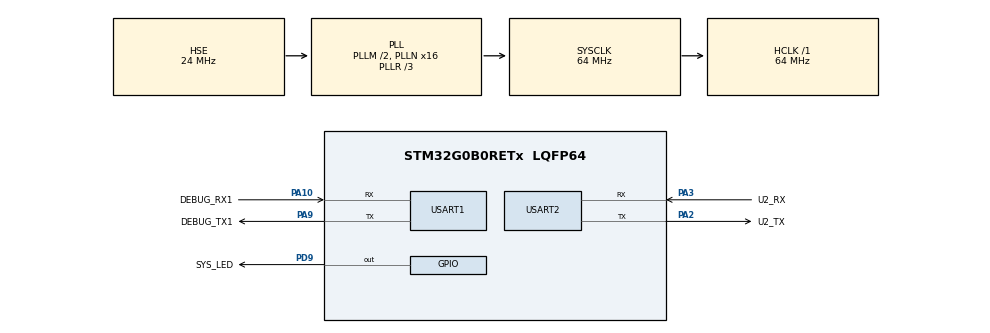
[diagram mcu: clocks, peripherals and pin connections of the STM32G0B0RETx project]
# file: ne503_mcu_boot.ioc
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CRC.InputDataInversionMode=CRC_INPUTDATA_INVERSION_NONE
Dma.Request0=USART2_RX
Dma.Request1=USART2_TX
Dma.Request2=USART1_RX
Dma.Request3=USART1_TX
Dma.USART1_RX.2.Direction=DMA_PERIPH_TO_MEMORY
Dma.USART1_RX.2.EventEnable=DISABLE
Dma.USART1_RX.2.Instance=DMA1_Channel1
Dma.USART1_RX.2.MemDataAlignment=DMA_MDATAALIGN_BYTE
Dma.USART1_RX.2.MemInc=DMA_MINC_ENABLE
Dma.USART1_RX.2.Mode=DMA_CIRCULAR
Dma.USART1_RX.2.PeriphDataAlignment=DMA_PDATAALIGN_BYTE
Dma.USART1_RX.2.PeriphInc=DMA_PINC_DISABLE
Dma.USART1_RX.2.Polarity=HAL_DMAMUX_REQ_GEN_RISING
Dma.USART1_RX.2.Priority=DMA_PRIORITY_LOW
Dma.USART1_RX.2.RequestNumber=1
Dma.USART1_RX.2.SignalID=NONE
Dma.USART1_RX.2.SyncEnable=DISABLE
Dma.USART1_RX.2.SyncPolarity=HAL_DMAMUX_SYNC_NO_EVENT
Dma.USART1_RX.2.SyncRequestNumber=1
Dma.USART1_RX.2.SyncSignalID=NONE
Dma.USART1_TX.3.Direction=DMA_MEMORY_TO_PERIPH
Dma.USART1_TX.3.EventEnable=DISABLE
Dma.USART1_TX.3.Instance=DMA1_Channel2
Dma.USART1_TX.3.MemDataAlignment=DMA_MDATAALIGN_BYTE
Dma.USART1_TX.3.MemInc=DMA_MINC_ENABLE
Dma.USART1_TX.3.Mode=DMA_NORMAL
Dma.USART1_TX.3.PeriphDataAlignment=DMA_PDATAALIGN_BYTE
Dma.USART1_TX.3.PeriphInc=DMA_PINC_DISABLE
Dma.USART1_TX.3.Polarity=HAL_DMAMUX_REQ_GEN_RISING
Dma.USART1_TX.3.Priority=DMA_PRIORITY_LOW
Dma.USART1_TX.3.RequestNumber=1
Dma.USART1_TX.3.SignalID=NONE
Dma.USART1_TX.3.SyncEnable=DISABLE
Dma.USART1_TX.3.SyncPolarity=HAL_DMAMUX_SYNC_NO_EVENT
Dma.USART1_TX.3.SyncRequestNumber=1
Dma.USART1_TX.3.SyncSignalID=NONE
Dma.USART2_RX.0.Direction=DMA_PERIPH_TO_MEMORY
Dma.USART2_RX.0.EventEnable=DISABLE
Dma.USART2_RX.0.Instance=DMA1_Channel4
Dma.USART2_RX.0.MemDataAlignment=DMA_MDATAALIGN_BYTE
Dma.USART2_RX.0.MemInc=DMA_MINC_ENABLE
Dma.USART2_RX.0.Mode=DMA_NORMAL
Dma.USART2_RX.0.PeriphDataAlignment=DMA_PDATAALIGN_BYTE
Dma.USART2_RX.0.PeriphInc=DMA_PINC_DISABLE
Dma.USART2_RX.0.Polarity=HAL_DMAMUX_REQ_GEN_RISING
Dma.USART2_RX.0.Priority=DMA_PRIORITY_HIGH
Dma.USART2_RX.0.RequestNumber=1
Dma.USART2_RX.0.SignalID=NONE
Dma.USART2_RX.0.SyncEnable=DISABLE
Dma.USART2_RX.0.SyncPolarity=HAL_DMAMUX_SYNC_NO_EVENT
Dma.USART2_RX.0.SyncRequestNumber=1
Dma.USART2_RX.0.SyncSignalID=NONE
Dma.USART2_TX.1.Direction=DMA_MEMORY_TO_PERIPH
Dma.USART2_TX.1.EventEnable=DISABLE
Dma.USART2_TX.1.Instance=DMA1_Channel3
Dma.USART2_TX.1.MemDataAlignment=DMA_MDATAALIGN_BYTE
Dma.USART2_TX.1.MemInc=DMA_MINC_ENABLE
Dma.USART2_TX.1.Mode=DMA_NORMAL
Dma.USART2_TX.1.PeriphDataAlignment=DMA_PDATAALIGN_BYTE
Dma.USART2_TX.1.PeriphInc=DMA_PINC_DISABLE
Dma.USART2_TX.1.Polarity=HAL_DMAMUX_REQ_GEN_RISING
Dma.USART2_TX.1.Priority=DMA_PRIORITY_HIGH
Dma.USART2_TX.1.RequestNumber=1
Dma.USART2_TX.1.SignalID=NONE
Dma.USART2_TX.1.SyncEnable=DISABLE
Dma.USART2_TX.1.SyncPolarity=HAL_DMAMUX_SYNC_NO_EVENT
Dma.USART2_TX.1.SyncRequestNumber=1
Dma.USART2_TX.1.SyncSignalID=NONE
IWDG.Prescaler=IWDG_PRESCALER_32
IWDG.Reload=3000
IWDG.Window=3000
Mcu.Family=STM32G0
Mcu.Name=STM32G0B0RETx
Mcu.Package=LQFP64
NVIC.DMA1_Ch4_7_DMA2_Ch1_5_DMAMUX1_OVR_IRQn=true\:0\:0\:false\:false\:true\:false\:true\:true
NVIC.DMA1_Channel1_IRQn=true\:0\:0\:false\:false\:true\:false\:true\:true
NVIC.DMA1_Channel2_3_IRQn=true\:0\:0\:false\:false\:true\:false\:true\:true
NVIC.TIM6_IRQn=true\:0\:0\:false\:false\:true\:true\:true\:true
NVIC.USART1_IRQn=true\:0\:0\:false\:false\:true\:true\:true\:true
NVIC.USART2_IRQn=true\:0\:0\:false\:false\:true\:true\:true\:true
PA10.GPIO_Label=DEBUG_RX1
PA10.GPIO_Speed=GPIO_SPEED_FREQ_VERY_HIGH
PA10.Mode=Asynchronous
PA10.Signal=USART1_RX
PA13.Mode=Serial_Wire
PA13.Signal=SYS_SWDIO
PA14-BOOT0.Mode=Serial_Wire
PA14-BOOT0.Signal=SYS_SWCLK
PA2.GPIO_Label=U2_TX
PA2.GPIO_Speed=GPIO_SPEED_FREQ_VERY_HIGH
PA2.Mode=Asynchronous
PA2.Signal=USART2_TX
PA3.GPIO_Label=U2_RX
PA3.GPIO_Speed=GPIO_SPEED_FREQ_VERY_HIGH
PA3.Mode=Asynchronous
PA3.Signal=USART2_RX
PA9.GPIO_Label=DEBUG_TX1
PA9.GPIO_Speed=GPIO_SPEED_FREQ_VERY_HIGH
PA9.Mode=Asynchronous
PA9.Signal=USART1_TX
PD9.GPIO_Label=SYS_LED
PD9.GPIO_Speed=GPIO_SPEED_FREQ_VERY_HIGH
PD9.Signal=GPIO_Output
PF0-OSC_IN\ (PF0).Mode=HSE-External-Oscillator
PF0-OSC_IN\ (PF0).Signal=RCC_OSC_IN
PF1-OSC_OUT\ (PF1).Mode=HSE-External-Oscillator
PF1-OSC_OUT\ (PF1).Signal=RCC_OSC_OUT
ProjectManager.HeapSize=0x400
ProjectManager.StackSize=0x800
ProjectManager.TargetToolchain=STM32CubeIDE
RCC.ADCFreq_Value=64000000
RCC.AHBFreq_Value=64000000
RCC.CortexFreq_Value=64000000
RCC.EXTERNAL_CLOCK_VALUE=48000
RCC.HCLKFreq_Value=64000000
RCC.HSE_VALUE=24000000
RCC.HSI_VALUE=16000000
RCC.LSE_VALUE=32768
RCC.PLLM=RCC_PLLM_DIV2
RCC.PLLN=16
RCC.PLLR=RCC_PLLR_DIV3
RCC.PLLSourceVirtual=RCC_PLLSOURCE_HSE
RCC.RTCClockSelection=RCC_RTCCLKSOURCE_LSE
RCC.SYSCLKFreq_VALUE=64000000
RCC.SYSCLKSource=RCC_SYSCLKSOURCE_PLLCLK
RCC.USBFreq_Value=96000000
RCC.VCOOutputFreq_Value=192000000
TIM6.AutoReloadPreload=TIM_AUTORELOAD_PRELOAD_ENABLE
TIM6.Period=999
TIM6.Prescaler=6399
USART1.VirtualMode-Asynchronous=VM_ASYNC
USART2.VirtualMode-Asynchronous=VM_ASYNC
VP_CRC_VS_CRC.Mode=CRC_Activate
VP_IWDG_VS_IWDG.Mode=IWDG_Activate
VP_SYS_VS_DBSignals.Mode=DisableDeadBatterySignals
VP_TIM6_VS_ClockSourceINT.Mode=Enable_Timer
board=custom

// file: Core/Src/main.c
/* USER CODE BEGIN Header */
/**
  ******************************************************************************
  * @file           : main.c
  * @brief          : Main program body
  ******************************************************************************
  * @attention
  *
  * Copyright (c) 2026 STMicroelectronics.
  * All rights reserved.
  *
  * This software is licensed under terms that can be found in the LICENSE file
  * in the root directory of this software component.
  * If no LICENSE file comes with this software, it is provided AS-IS.
  *
  ******************************************************************************
  */
/* USER CODE END Header */
#include "main.h"
#include "crc.h"
#include "dma.h"
#include "iwdg.h"
#include "tim.h"
#include "usart.h"
#include "gpio.h"

/* USER CODE BEGIN Includes */
#include "ota_module.h"
#include "boot_ymodem.h"
/* USER CODE END Includes */

/* USER CODE BEGIN PD */
#ifndef BOOT_YMODEM_PROBE_ROUNDS
#define BOOT_YMODEM_PROBE_ROUNDS 3u
#endif
/* USER CODE END PD */

void SystemClock_Config(void);
/* USER CODE BEGIN PFP */
#ifdef __GNUC__
#define PUTCHAR_PROTOTYPE int __io_putchar(int ch)
#else
#define PUTCHAR_PROTOTYPE int fputc(int ch, FILE *f)
#endif
PUTCHAR_PROTOTYPE
{
	UART_HandleTypeDef *du = g_boot_debug_uart ? g_boot_debug_uart : &huart1;
	HAL_UART_Transmit(du, (uint8_t *)&ch, 1, 10);
	return ch;
}
/* USER CODE END PFP */

/* USER CODE BEGIN 0 */
void HAL_TIM_PeriodElapsedCallback(TIM_HandleTypeDef *htim)
{
    if (htim->Instance == TIM6)
    {
        HAL_IWDG_Refresh(&hiwdg);
    }
}
/* USER CODE END 0 */

int main(void)
{

  /* USER CODE BEGIN 1 */
  int ret = 0;
  /* USER CODE END 1 */

  /* MCU Configuration--------------------------------------------------------*/

  /* Reset of all peripherals, Initializes the Flash interface and the Systick. */
  HAL_Init();

  /* Configure the system clock */
  SystemClock_Config();

  /* Initialize all configured peripherals */
  MX_GPIO_Init();
  MX_DMA_Init();
  MX_IWDG_Init();
  MX_USART1_UART_Init();
  MX_USART2_UART_Init();
  MX_CRC_Init();
  MX_TIM6_Init();
  /* USER CODE BEGIN 2 */
  printf("booting...\r\n");
  HAL_TIM_Base_Start_IT(&htim6);
  boot_ymodem_init();

  ret = ota_module_init(&ota_module_platform_config);
  if (ret != OTA_MODULE_ERR_OK) {
    printf("ota_module_init failed: %d\r\n", ret);
    Error_Handler();
  }

  if (ota_module_get_boot_ymodem_flag() == 0) {
    if (boot_ymodem_probe(BOOT_YMODEM_PROBE_ROUNDS) != 0) {
      ret = ota_module_boot_preprocess();
      if (ret != OTA_MODULE_ERR_OK) {
        printf("boot_preprocess err %d\r\n", ret);
      }
    }
  } else {
    ota_module_set_boot_ymodem_flag(0);
  }
  printf("Ymodem wait\r\n");
  /* USER CODE END 2 */

  /* Infinite loop */
  while (1)
  {

    /* USER CODE BEGIN 3 */
    boot_ymodem_poll();
  }
  /* USER CODE END 3 */
}

void SystemClock_Config(void)
{
  RCC_OscInitTypeDef RCC_OscInitStruct = {0};
  RCC_ClkInitTypeDef RCC_ClkInitStruct = {0};

  /** Configure the main internal regulator output voltage
  */
  HAL_PWREx_ControlVoltageScaling(PWR_REGULATOR_VOLTAGE_SCALE1);

  /** Initializes the RCC Oscillators according to the specified parameters
  * in the RCC_OscInitTypeDef structure.
  */
  RCC_OscInitStruct.OscillatorType = RCC_OSCILLATORTYPE_LSI|RCC_OSCILLATORTYPE_HSE;
  RCC_OscInitStruct.HSEState = RCC_HSE_ON;
  RCC_OscInitStruct.LSIState = RCC_LSI_ON;
  RCC_OscInitStruct.PLL.PLLState = RCC_PLL_ON;
  RCC_OscInitStruct.PLL.PLLSource = RCC_PLLSOURCE_HSE;
  RCC_OscInitStruct.PLL.PLLM = RCC_PLLM_DIV2;
  RCC_OscInitStruct.PLL.PLLN = 16;
  RCC_OscInitStruct.PLL.PLLP = RCC_PLLP_DIV2;
  RCC_OscInitStruct.PLL.PLLQ = RCC_PLLQ_DIV2;
  RCC_OscInitStruct.PLL.PLLR = RCC_PLLR_DIV3;
  if (HAL_RCC_OscConfig(&RCC_OscInitStruct) != HAL_OK)
  {
    Error_Handler();
  }

  /** Initializes the CPU, AHB and APB buses clocks
  */
  RCC_ClkInitStruct.ClockType = RCC_CLOCKTYPE_HCLK|RCC_CLOCKTYPE_SYSCLK
                              |RCC_CLOCKTYPE_PCLK1;
  RCC_ClkInitStruct.SYSCLKSource = RCC_SYSCLKSOURCE_PLLCLK;
  RCC_ClkInitStruct.AHBCLKDivider = RCC_SYSCLK_DIV1;
  RCC_ClkInitStruct.APB1CLKDivider = RCC_HCLK_DIV1;

  if (HAL_RCC_ClockConfig(&RCC_ClkInitStruct, FLASH_LATENCY_2) != HAL_OK)
  {
    Error_Handler();
  }
}

void Error_Handler(void)
{
  __disable_irq();
  while (1)
  {
  }
}
